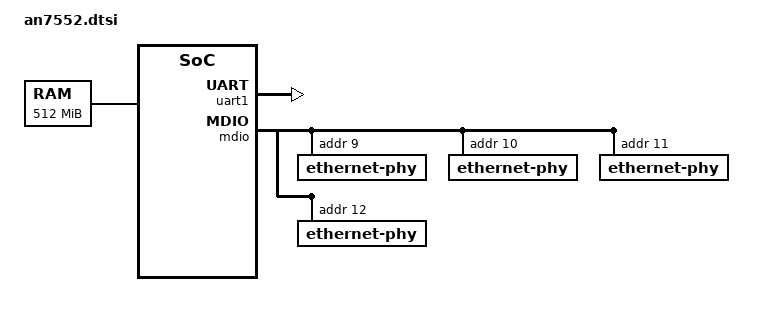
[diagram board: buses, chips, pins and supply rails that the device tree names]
// SPDX-License-Identifier: (GPL-2.0-only OR BSD-2-Clause)

#include <dt-bindings/interrupt-controller/irq.h>
#include <dt-bindings/clock/en7523-clk.h>
#include <dt-bindings/leds/common.h>
#include <dt-bindings/gpio/gpio.h>
#include <dt-bindings/interrupt-controller/arm-gic.h>
#include <dt-bindings/reset/airoha,en7523-reset.h>

/ {
	compatible = "airoha,an7552";
	#address-cells = <1>;
	#size-cells = <1>;
	interrupt-parent = <&gic>;

	aliases {
		serial0 = &uart1;
		spi0 = &snfi;
		ethernet0 = &gdm1;
	};

	chosen {
		stdout-path = "serial0:115200n8";
	};

	memory@80000000 {
		device_type = "memory";
		reg = <0x80000000 0x20000000>;
	};

	reserved-memory {
		#address-cells = <1>;
		#size-cells = <1>;
		ranges;

		atf@80000000 {
			reg = <0x80000000 0x200000>;
			no-map;
		};

		npu@84000000 {
			reg = <0x84000000 0x400000>;
			no-map;
		};
	};

	cpus {
		#address-cells = <1>;
		#size-cells = <0>;

		cpu-map {
			cluster0 {
				core0 {
					cpu = <&cpu0>;
				};
				core1 {
					cpu = <&cpu1>;
				};
			};
		};

		cpu0: cpu@0 {
			device_type = "cpu";
			compatible = "arm,cortex-a53";
			reg = <0x0>;
			enable-method = "psci";
			clock-frequency = <80000000>;
			next-level-cache = <&L2_0>;
		};

		cpu1: cpu@1 {
			device_type = "cpu";
			compatible = "arm,cortex-a53";
			reg = <0x1>;
			enable-method = "psci";
			clock-frequency = <80000000>;
			next-level-cache = <&L2_0>;
		};

		L2_0: l2-cache0 {
			compatible = "cache";
			cache-level = <2>;
			cache-unified;
		};
	};

	psci {
		compatible = "arm,psci-0.2";
		method = "smc";
	};

	timer {
		compatible = "arm,armv8-timer";
		interrupts = <GIC_PPI 13 IRQ_TYPE_LEVEL_LOW>,
			     <GIC_PPI 14 IRQ_TYPE_LEVEL_LOW>,
			     <GIC_PPI 11 IRQ_TYPE_LEVEL_LOW>,
			     <GIC_PPI 10 IRQ_TYPE_LEVEL_LOW>;
	};

	gic: interrupt-controller@9000000 {
		compatible = "arm,gic-v3";
		reg = <0x09000000 0x20000>,
		      <0x09080000 0x80000>,
		      <0x09400000 0x2000>,
					      <0x09500000 0x2000>,
		      <0x09600000 0x20000>;

		interrupt-controller;
		#interrupt-cells = <3>;
		#address-cells = <0>;

		interrupts = <GIC_PPI 9 IRQ_TYPE_LEVEL_LOW>;
	};

	/* Keep the existing U-Boot CHIP SCU / NP SCU resource order. */
	scu: system-controller@1fa20000 {
		compatible = "airoha,an7552-scu";
		reg = <0x1fa20000 0x400>,
		      <0x1fb00000 0x1000>;

		#clock-cells = <1>;
		#reset-cells = <1>;
	};

	system-controller@1fbf0200 {
		compatible = "syscon", "simple-mfd";
		reg = <0x1fbf0200 0xc0>;

		pinctrl: pinctrl {
			compatible = "airoha,an7563-pinctrl";

			gpio-controller;
			#gpio-cells = <2>;

			gpio-ranges = <&pinctrl 0 0 38>;
		};
	};

	uart1: serial@1fbf0000 {
		bootph-all;
		compatible = "ns16550";
		reg = <0x1fbf0000 0x30>;
		reg-io-width = <4>;
		reg-shift = <2>;
		clock-frequency = <1843200>;
		interrupts = <GIC_SPI 18 IRQ_TYPE_LEVEL_HIGH>;
	};

	spi0: spi@1fa10000 {
		compatible = "airoha,en7523-spi";
		reg = <0x1fa10000 0x140>,
		      <0x1fa11000 0x600>;

		clocks = <&scu EN7523_CLK_SPI>;
		clock-names = "spi";

		#address-cells = <1>;
		#size-cells = <0>;

		status = "disabled";
	};

	eth: ethernet@1fb50000 {
		compatible = "airoha,an7552-eth";
		reg = <0x1fb50000 0x2600>,
		      <0x1fb54000 0x2000>,
		      <0x1fbf9000 0x1000>;
		reg-names = "fe", "qdma0", "gdmp";

		resets = <&scu EN7523_FE_RST>,
		         <&scu EN7523_FE_PDMA_RST>,
		         <&scu EN7523_FE_QDMA_RST>,
			       <&scu EN7523_GSW_RST>;
		reset-names = "fe", "pdma", "qdma", "switch";

		#address-cells = <1>;
		#size-cells = <0>;
		status = "disabled";

		gdm1: ethernet@1 {
			compatible = "airoha,eth-mac";
			reg = <1>;
			phy-mode = "internal";

			fixed-link {
				speed = <10000>;
				full-duplex;
				pause;
			};
		};
	};

	switch: switch@1fb58000 {
		compatible = "airoha,an7552-switch";
		reg = <0x1fb58000 0x8000>;

		mdio: mdio {
			#address-cells = <1>;
			#size-cells = <0>;

			ethernet-phy@9 {
				reg = <9>;
				airoha,mdi-resistor-ohms = <5>;
			};

			ethernet-phy@a {
				reg = <10>;
				airoha,mdi-resistor-ohms = <5>;
			};

			ethernet-phy@b {
				reg = <11>;
				airoha,mdi-resistor-ohms = <5>;
			};

			ethernet-phy@c {
				reg = <12>;
				airoha,mdi-resistor-ohms = <5>;
			};
		};
	};
};
